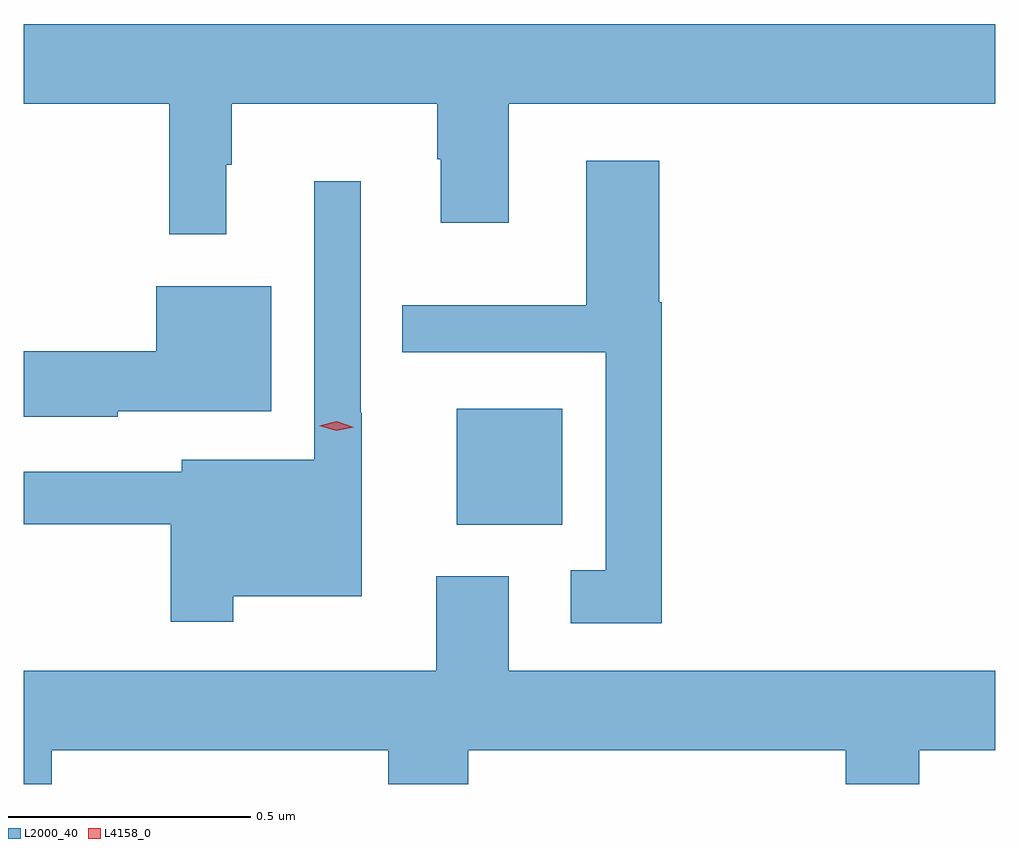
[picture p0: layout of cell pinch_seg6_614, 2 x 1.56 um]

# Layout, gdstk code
import gdstk
lib = gdstk.Library(unit=1e-6, precision=1e-09)
def R(c, l, rs):  # rectangles x0, y0, x1, y1
    for r in rs: c.add(gdstk.rectangle(r[:2], r[2:], *l))
def P(c, l, *ps):  # polygons
    for p in ps: c.add(gdstk.Polygon(p, *l))
L2000_40 = (2000, 40)
L4158_0 = (4158, 0)

pinch_seg6_614 = lib.new_cell('pinch_seg6_614')
R(pinch_seg6_614, L2000_40, [(432.596,965.117,432.814,965.356)])
P(pinch_seg6_614, L2000_40, [(432.122,965.858),(432.133,965.858),(432.133,965.984),(432.556,965.984),(432.556,965.87),(432.563,965.87),(432.563,965.739),(432.703,965.739),(432.703,965.984),(433.705,965.984),(433.705,966.148),(431.705,966.148),(431.705,965.984),(432.004,965.984),(432.004,965.715),(432.122,965.715)],
  [(433.019,965.575),(433.013,965.575),(433.013,965.866),(432.863,965.866),(432.863,965.569),(432.484,965.569),(432.484,965.472),(432.903,965.472),(432.903,965.023),(432.831,965.023),(432.831,964.914),(433.019,964.914)],
  [(432.136,964.97),(432.401,964.97),(432.401,965.347),(432.399,965.347),(432.399,965.824),(432.303,965.824),(432.303,965.251),(432.03,965.251),(432.03,965.226),(431.705,965.226),(431.705,965.118),(432.007,965.118),(432.007,964.917),(432.136,964.917)],
  [(431.898,965.351),(432.214,965.351),(432.214,965.608),(431.978,965.608),(431.978,965.474),(431.705,965.474),(431.705,965.339),(431.898,965.339)],
  [(431.762,964.652),(432.455,964.652),(432.455,964.583),(432.62,964.583),(432.62,964.652),(433.397,964.652),(433.397,964.583),(433.549,964.583),(433.549,964.652),(433.705,964.652),(433.705,964.816),(432.703,964.816),(432.703,965.011),(432.554,965.011),(432.554,964.816),(431.705,964.816),(431.705,964.583),(431.762,964.583)])
P(pinch_seg6_614, L4158_0, [(432.348,965.31),(432.313,965.321),(432.313,965.321),(432.313,965.321),(432.349,965.33),(432.384,965.318),(432.384,965.318),(432.384,965.318)])

lib.write_gds('pinch_seg6_614.gds')
